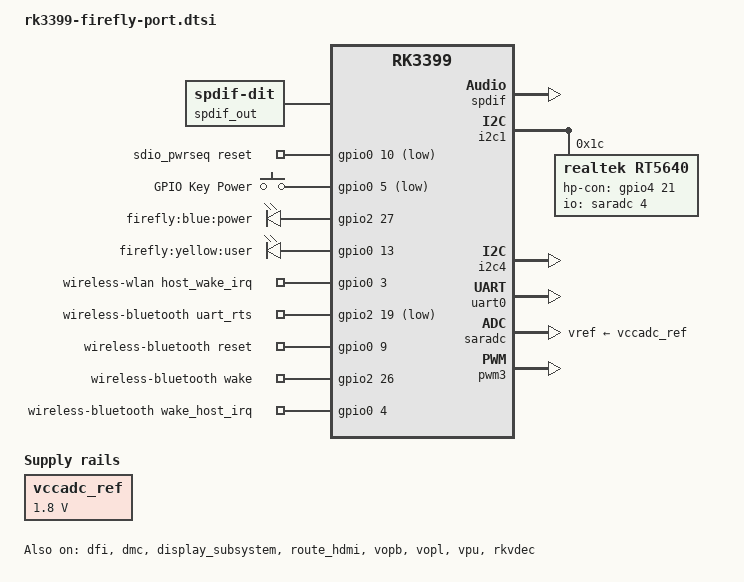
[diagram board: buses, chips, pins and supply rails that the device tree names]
/*
 * Copyright (c) 2016 Fuzhou Rockchip Electronics Co., Ltd
 *
 * This file is dual-licensed: you can use it either under the terms
 * of the GPL or the X11 license, at your option. Note that this dual
 * licensing only applies to this file, and not this project as a
 * whole.
 *
 *  a) This file is free software; you can redistribute it and/or
 *     modify it under the terms of the GNU General Public License as
 *     published by the Free Software Foundation; either version 2 of the
 *     License, or (at your option) any later version.
 *
 *     This file is distributed in the hope that it will be useful,
 *     but WITHOUT ANY WARRANTY; without even the implied warranty of
 *     MERCHANTABILITY or FITNESS FOR A PARTICULAR PURPOSE.  See the
 *     GNU General Public License for more details.
 *
 * Or, alternatively,
 *
 *  b) Permission is hereby granted, free of charge, to any person
 *     obtaining a copy of this software and associated documentation
 *     files (the "Software"), to deal in the Software without
 *     restriction, including without limitation the rights to use,
 *     copy, modify, merge, publish, distribute, sublicense, and/or
 *     sell copies of the Software, and to permit persons to whom the
 *     Software is furnished to do so, subject to the following
 *     conditions:
 *
 *     The above copyright notice and this permission notice shall be
 *     included in all copies or substantial portions of the Software.
 *
 *     THE SOFTWARE IS PROVIDED "AS IS", WITHOUT WARRANTY OF ANY KIND,
 *     EXPRESS OR IMPLIED, INCLUDING BUT NOT LIMITED TO THE WARRANTIES
 *     OF MERCHANTABILITY, FITNESS FOR A PARTICULAR PURPOSE AND
 *     NONINFRINGEMENT. IN NO EVENT SHALL THE AUTHORS OR COPYRIGHT
 *     HOLDERS BE LIABLE FOR ANY CLAIM, DAMAGES OR OTHER LIABILITY,
 *     WHETHER IN AN ACTION OF CONTRACT, TORT OR OTHERWISE, ARISING
 *     FROM, OUT OF OR IN CONNECTION WITH THE SOFTWARE OR THE USE OR
 *     OTHER DEALINGS IN THE SOFTWARE.
 */

#include "rk3399-firefly-core.dtsi"
#include <dt-bindings/input/input.h>

/ {
	compatible = "rockchip,rk3399-firefly-port", "rockchip,rk3399";

	edp_panel: edp-panel {
		status = "disabled";

		ports {
			panel_in_edp: endpoint {
				remote-endpoint = <&edp_out_panel>;
			};
		};
	};

	vccadc_ref: vccadc-ref {
		compatible = "regulator-fixed";
		regulator-name = "vcc1v8_sys";
		regulator-always-on;
		regulator-boot-on;
		regulator-min-microvolt = <1800000>;
		regulator-max-microvolt = <1800000>;
	};

	rt5640-sound {
		compatible = "simple-audio-card";
		simple-audio-card,format = "i2s";
		simple-audio-card,name = "rockchip,rt5640-codec";
		simple-audio-card,mclk-fs = <256>;
		simple-audio-card,widgets =
			"Microphone", "Mic Jack",
			"Headphone", "Headphone Jack";
		simple-audio-card,routing =
			"Mic Jack", "MICBIAS1",
			"IN1P", "Mic Jack",
			"Headphone Jack", "HPOL",
			"Headphone Jack", "HPOR";

		simple-audio-card,cpu {
			sound-dai = <&i2s1>;
		};
		simple-audio-card,codec {
			sound-dai = <&rt5640>;
		};
	};

	spdif-sound {
		status = "okay";
		compatible = "simple-audio-card";
		simple-audio-card,name = "ROCKCHIP,SPDIF";
		simple-audio-card,cpu {
			sound-dai = <&spdif>;
		};
		simple-audio-card,codec {
			sound-dai = <&spdif_out>;
		};
	};

	spdif_out: spdif-out {
		status = "okay";
		compatible = "linux,spdif-dit";
		#sound-dai-cells = <0>;
	};

	sdio_pwrseq: sdio-pwrseq {
		compatible = "mmc-pwrseq-simple";
		clocks = <&rk808 1>;
		clock-names = "ext_clock";
		pinctrl-names = "default";
		pinctrl-0 = <&wifi_enable_h>;

		/*
		 * On the module itself this is one of these (depending
		 * on the actual card populated):
		 * - SDIO_RESET_L_WL_REG_ON
		 * - PDN (power down when low)
		 */
		reset-gpios = <&gpio0 10 GPIO_ACTIVE_LOW>; /* GPIO0_B2 */
	};

	gpio-keys {
		compatible = "gpio-keys";
		#address-cells = <1>;
		#size-cells = <0>;
		autorepeat;

		pinctrl-names = "default";
		pinctrl-0 = <&pwrbtn>;

		button@0 {
			gpios = <&gpio0 5 GPIO_ACTIVE_LOW>;
			linux,code = <KEY_POWER>;
			label = "GPIO Key Power";
			linux,input-type = <1>;
			gpio-key,wakeup = <1>;
			debounce-interval = <100>;
		};
	};

	leds {
		compatible = "gpio-leds";

		work {
			label = "firefly:blue:power";
			linux,default-trigger = "ir-power-click";
			gpios = <&gpio2 27 GPIO_ACTIVE_HIGH>;
			pinctrl-names = "default";
			pinctrl-0 = <&led_power>;
			default-state = "on";
		};

		user {
			label = "firefly:yellow:user";
			linux,default-trigger = "ir-user-click";
			gpios = <&gpio0 13 GPIO_ACTIVE_HIGH>;
			pinctrl-names = "default";
			pinctrl-0 = <&led_user>;
			default-state = "off";
		};
	};

	wireless-wlan {
		compatible = "wlan-platdata";
		rockchip,grf = <&grf>;
		wifi_chip_type = "ap6356s";
		sdio_vref = <1800>;
		WIFI,host_wake_irq = <&gpio0 3 GPIO_ACTIVE_HIGH>; /* GPIO0_a3 */
		status = "okay";
	};

	wireless-bluetooth {
		compatible = "bluetooth-platdata";
		clocks = <&rk808 1>;
		clock-names = "ext_clock";
		//wifi-bt-power-toggle;
		uart_rts_gpios = <&gpio2 19 GPIO_ACTIVE_LOW>; /* GPIO2_C3 */
		pinctrl-names = "default", "rts_gpio";
		pinctrl-0 = <&uart0_rts>;
		pinctrl-1 = <&uart0_gpios>;
		//BT,power_gpio  = <&gpio3 19 GPIO_ACTIVE_HIGH>; /* GPIOx_xx */
		BT,reset_gpio    = <&gpio0 9 GPIO_ACTIVE_HIGH>; /* GPIO0_B1 */
		BT,wake_gpio     = <&gpio2 26 GPIO_ACTIVE_HIGH>; /* GPIO2_D2 */
		BT,wake_host_irq = <&gpio0 4 GPIO_ACTIVE_HIGH>; /* GPIO0_A4 */
		status = "okay";
	};
};

&dfi {
	status = "okay";
};

&dmc {
	status = "okay";
	center-supply = <&vdd_center>;
	upthreshold = <40>;
	downdifferential = <20>;
	system-status-freq = <
		/*system status         freq(KHz)*/
		SYS_STATUS_NORMAL       800000
		SYS_STATUS_REBOOT       400000
		SYS_STATUS_SUSPEND      400000
		SYS_STATUS_VIDEO_1080P  400000
		SYS_STATUS_VIDEO_4K     800000
		SYS_STATUS_VIDEO_4K_10B 800000
		SYS_STATUS_PERFORMANCE  800000
		SYS_STATUS_BOOST        400000
		SYS_STATUS_DUALVIEW     800000
		SYS_STATUS_ISP          800000
	>;
	vop-bw-dmc-freq = <
	/* min_bw(MB/s) max_bw(MB/s) freq(KHz) */
		0       577      200000
		578     1701     300000
		1702    99999    400000
	>;
	auto-min-freq = <400000>;
	auto-freq-en = <0>;
};

&spdif {
	status = "okay";
	pinctrl-0 = <&spdif_bus_1>;
	i2c-scl-rising-time-ns = <450>;
	i2c-scl-falling-time-ns = <15>;
	#sound-dai-cells = <0>;
};

&i2c1 {
	status = "okay";
	i2c-scl-rising-time-ns = <300>;
	i2c-scl-falling-time-ns = <15>;

	rt5640: rt5640@1c {
		#sound-dai-cells = <0>;
		compatible = "realtek,rt5640";
		reg = <0x1c>;
		clocks = <&cru SCLK_I2S_8CH_OUT>;
		clock-names = "mclk";
		realtek,in1-differential;
		pinctrl-names = "default";
		pinctrl-0 = <&rt5640_hpcon &i2s_8ch_mclk>;
		hp-con-gpio = <&gpio4 21 GPIO_ACTIVE_HIGH>;
		//hp-det-gpio = <&gpio4 28 GPIO_ACTIVE_LOW>;
		io-channels = <&saradc 4>;
		hp-det-adc-value = <500>;
	};
};

&i2c4 {
	status = "okay";

	gslx680: gslx680@41 {
		status = "disabled";
		compatible = "gslX680";
		reg = <0x41>;
		screen_max_x = <1536>;
		screen_max_y = <2048>;
		touch-gpio = <&gpio4 28 IRQ_TYPE_LEVEL_LOW>;
		reset-gpio = <&gpio0 12 GPIO_ACTIVE_HIGH>;
	};

	mpu6500: mpu@68 {
		status = "disabled";
		compatible = "invensense,mpu6500";
		reg = <0x68>;
		irq-gpio = <&gpio1 4 IRQ_TYPE_LEVEL_LOW>;
		mpu-int_config = <0x10>;
		mpu-level_shifter = <0>;
		mpu-orientation = <0 1 0 1 0 0 0 0 1>;
		orientation-x= <1>;
		orientation-y= <1>;
		orientation-z= <1>;
		mpu-debug = <1>;
	};
};

&uart0 {
	pinctrl-names = "default";
	pinctrl-0 = <&uart0_xfer &uart0_cts>;
	status = "okay";
};

&uart4 {
	current-speed = <9600>;
	no-loopback-test;
	status = "disabled";
};

&saradc {
	status = "okay";
	vref-supply = <&vccadc_ref>;
};

&rockchip_suspend {
	status = "okay";
	rockchip,sleep-debug-en = <1>;
	rockchip,sleep-mode-config = <
		(0
		| RKPM_SLP_ARMPD
		| RKPM_SLP_PERILPPD
		| RKPM_SLP_DDR_RET
		| RKPM_SLP_PLLPD
		| RKPM_SLP_CENTER_PD
		| RKPM_SLP_AP_PWROFF
		)
		>;
	rockchip,wakeup-config = <
		(0
		| RKPM_GPIO_WKUP_EN
		| RKPM_PWM_WKUP_EN
		)
		>;
		rockchip,pwm-regulator-config = <
		(0
		| PWM2_REGULATOR_EN
		)
		>;
	rockchip,power-ctrl =
		<&gpio1 17 GPIO_ACTIVE_HIGH>,
		<&gpio1 14 GPIO_ACTIVE_HIGH>;
};

&pwm3 {
	interrupts = <GIC_SPI 61 IRQ_TYPE_LEVEL_HIGH 0>;
	compatible = "rockchip,remotectl-pwm";
	pinctrl-names = "default";
	remote_pwm_id = <3>;
	handle_cpu_id = <0>;
	remote_support_psci = <1>;
	status = "okay";

    ir_key1 {
        rockchip,usercode = <0xff00>;
        rockchip,key_table =
            <0xeb   KEY_POWER>,
            <0xec   KEY_COMPOSE>,
            <0xfe   KEY_BACK>,
            <0xb7   KEY_HOME>,
            <0xa3   KEY_WWW>,
            <0xf4   KEY_VOLUMEUP>,
            <0xa7   KEY_VOLUMEDOWN>,
            <0xf8   KEY_ENTER>,
            <0xfc   KEY_UP>,
            <0xfd   KEY_DOWN>,
            <0xf1   KEY_LEFT>,
            <0xe5   KEY_RIGHT>;
    };
};

&display_subsystem {
	status = "okay";
};

&route_hdmi {
	status = "okay";
	logo,mode = "center";
};

&route_edp {
	status = "disabled";
};

&edp {
	status = "disabled";
	force-hpd;

	ports {
		edp_out: port@1 {
			reg = <1>;
			#address-cells = <1>;
			#size-cells = <0>;

			edp_out_panel: endpoint@0 {
				reg = <0>;
				remote-endpoint = <&panel_in_edp>;
			};
		};
	};
};

&spi1 {
	status = "disabled";
	max-freq = <48000000>;

	spi_wk2xxx: spi_wk2xxx@00{
		status = "disabled";
		compatible = "firefly,spi-wk2xxx";
		reg = <0x00>;
		spi-max-frequency = <10000000>;
        power-gpio = <&gpio2 4 GPIO_ACTIVE_HIGH>;
        reset-gpio = <&gpio1 17 3 GPIO_ACTIVE_HIGH>;
        irq-gpio = <&gpio1 2 IRQ_TYPE_EDGE_FALLING>;
        cs-gpio = <&gpio1 10 GPIO_ACTIVE_HIGH>;
		/* wk2xxx driver support SPI_CPOL | SPI_CPHA | SPI_CS_HIGH */
		//spi-cpha;		/* SPI mode: CPHA=1 */
		//spi-cpol;   	/* SPI mode: CPOL=1 */
		//spi-cs-high;
	};
};

&vopb {
	status = "okay";
};

&vopb_mmu {
	status = "okay";
};

&vopl {
	status = "okay";
};

&vopl_mmu {
	status = "okay";
};

&vpu {
	status = "okay";
	/* 0 means ion, 1 means drm */
	//allocator = <0>;
};

&rkvdec {
	status = "okay";
	/* 0 means ion, 1 means drm */
	//allocator = <0>;
};

&pinctrl {
	buttons {
		pwrbtn: pwrbtn {
			rockchip,pins = <0 5 RK_FUNC_GPIO &pcfg_pull_up>;
		};
	};

	leds {
		led_power: led-power {
			rockchip,pins = <2 27 RK_FUNC_GPIO &pcfg_pull_none>;
		};

		led_user: led-user {
			rockchip,pins = <0 13 RK_FUNC_GPIO &pcfg_pull_none>;
		};
	};

	rt5640 {
		rt5640_hpcon: rt5640-hpcon {
			rockchip,pins = <4 21 RK_FUNC_GPIO &pcfg_pull_none>;
		};
	};

	wireless-bluetooth {
		uart0_gpios: uart0-gpios {
			rockchip,pins =
				<2 19 RK_FUNC_GPIO &pcfg_pull_none>;
		};
	};
};
